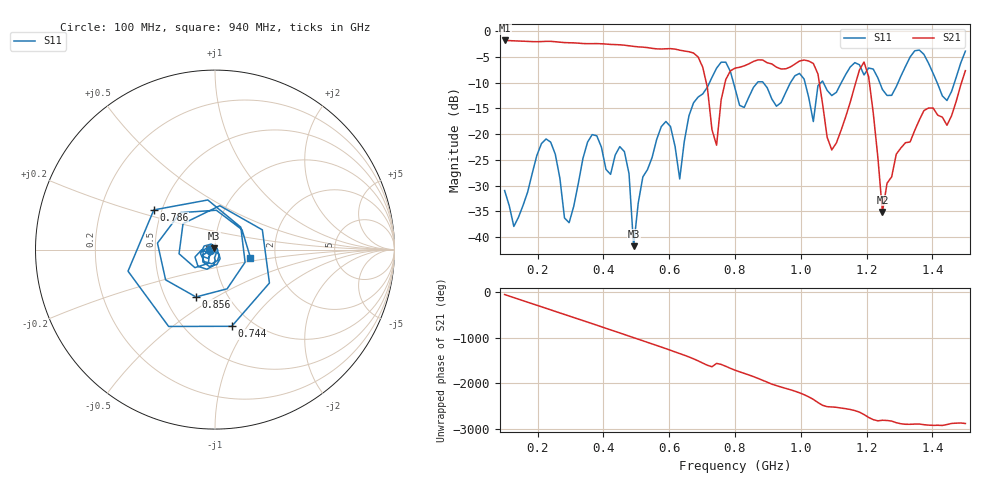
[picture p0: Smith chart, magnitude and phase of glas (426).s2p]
! NanoVNA-App
! Date: 2025-09-25 15:58:47
! Start: 100MHz Stop: 1,5GHz Points: 101
! S-Parameter data: F S11 S21 S12 S22
# Hz S RI R 50
!  Frequency  S11_Real  S11_Imag  S21_Real  S21_Imag  S12_Real  S12_Imag  S22_Real  S22_Imag
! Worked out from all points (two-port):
!   101 points, 100 MHz to 1.5 GHz, reference 50 ohm
!   highest |S21| = -1.80 dB at 100 MHz (marker M1); lowest = -35.1 dB at 1.248 GHz (marker M2)
!   |S21| within 3 dB of the highest: start of sweep to 684.2 MHz
!   lowest |S11| = -41.7 dB at 492 MHz (marker M3), VSWR 1.02, Z = 49.5 + j0.612 ohm
!   |S11| at or under -10 dB: start of sweep to 722.5 MHz; 795.4 MHz to 867.8 MHz (72.39 MHz wide, 8.71 % of centre); 886.1 MHz to 968.4 MHz (82.37 MHz wide, 8.88 % of centre) (the widest 3 of 7)
!   S12 and S22 are empty: the file has one direction only
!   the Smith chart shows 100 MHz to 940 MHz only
!   S11 on the Smith chart (normalised r, x): 100 MHz: 0.95, -0.01; 744 MHz: 0.80, -0.85; 786 MHz: 0.45, +0.24; 856 MHz: 0.71, -0.41; 940 MHz: 1.48, -0.14
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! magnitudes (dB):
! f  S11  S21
! 100 MHz  -30.9  -1.8
! 128 MHz  -37.9  -1.9
! 226 MHz  -20.9  -2.0
! 296 MHz  -37.2  -2.2
! 338 MHz  -24.7  -2.4
! 464 MHz  -23.4  -2.7
! 492 MHz  -41.7  -2.9
! 576 MHz  -18.5  -3.5
! 632 MHz  -28.7  -3.7
! 702 MHz  -12.2  -7.0
! 744 MHz  -7.2  -22.1
! 786 MHz  -7.8  -7.7
! 800 MHz  -11.1  -7.2
! 856 MHz  -10.9  -5.9
! 940 MHz  -13.9  -7.3
! 996 MHz  -8.2  -5.8
! 1.038 GHz  -17.6  -6.3
! 1.094 GHz  -12.5  -23.0
! 1.192 GHz  -8.5  -6.0
! 1.248 GHz  -11.3  -35.1
! 1.276 GHz  -12.5  -28.3
! 1.5 GHz  -3.9  -7.7
